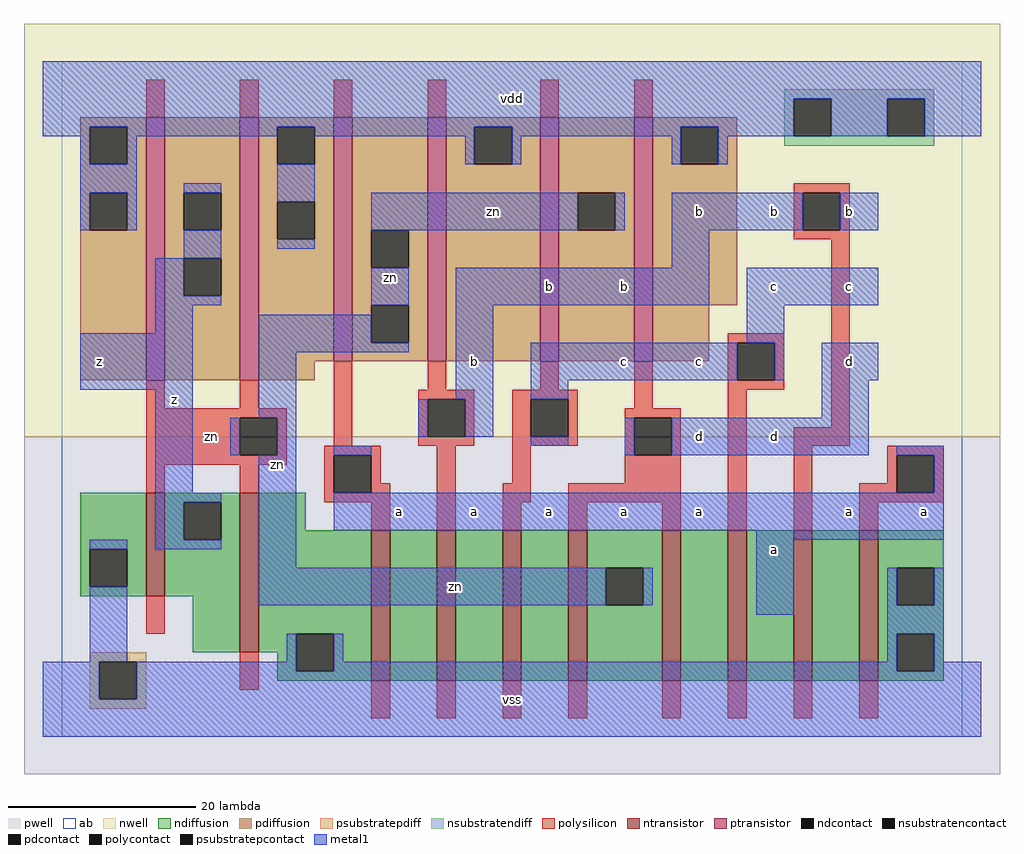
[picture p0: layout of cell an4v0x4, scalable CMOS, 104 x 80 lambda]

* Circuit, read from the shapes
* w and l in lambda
.subckt an4v0x4 a b c d vdd vss z zn
M1 z zn vss vss nfet w=11 l=2
M2 vss zn z vss nfet w=17 l=2
M3 n1 a vss vss nfet w=16 l=2
M4 n2 b n1 vss nfet w=16 l=2
M5 n3 c n2 vss nfet w=16 l=2
M6 zn d n3 vss nfet w=16 l=2
M7 n4 d zn vss nfet w=16 l=2
M8 n5 c n4 vss nfet w=16 l=2
M9 n6 b n5 vss nfet w=16 l=2
M10 vss a n6 vss nfet w=16 l=2
M11 z zn vdd vdd pfet w=28 l=2 m=2
M12 zn a vdd vdd pfet w=26 l=2
M13 vdd b zn vdd pfet w=26 l=2
M14 zn c vdd vdd pfet w=26 l=2
M15 vdd d zn vdd pfet w=26 l=2
.ends

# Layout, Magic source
magic
tech scmos
<< ab >>
rect 0 0 96 72
<< pwell >>
rect -4 -4 100 32
<< nwell >>
rect -4 32 100 76
<< polysilicon >>
rect 9 66 11 70
rect 19 66 21 70
rect 29 66 31 70
rect 39 66 41 70
rect 51 66 53 70
rect 61 66 63 70
rect 78 58 84 59
rect 78 54 79 58
rect 83 54 84 58
rect 78 53 84 54
rect 71 42 77 43
rect 9 35 11 38
rect 19 35 21 38
rect 9 34 24 35
rect 9 30 19 34
rect 23 30 24 34
rect 29 31 31 40
rect 39 37 41 40
rect 51 37 53 40
rect 38 36 44 37
rect 38 32 39 36
rect 43 32 44 36
rect 38 31 44 32
rect 48 36 55 37
rect 48 32 50 36
rect 54 32 55 36
rect 61 35 63 40
rect 71 38 72 42
rect 76 38 77 42
rect 71 37 77 38
rect 48 31 55 32
rect 60 34 66 35
rect 9 29 24 30
rect 28 30 34 31
rect 9 26 11 29
rect 19 26 21 29
rect 28 26 29 30
rect 33 27 34 30
rect 33 26 35 27
rect 9 11 11 15
rect 28 25 35 26
rect 33 22 35 25
rect 40 22 42 31
rect 48 27 50 31
rect 60 30 61 34
rect 65 30 66 34
rect 60 27 66 30
rect 47 25 50 27
rect 54 25 66 27
rect 47 22 49 25
rect 54 22 56 25
rect 64 22 66 25
rect 71 22 73 37
rect 82 33 84 53
rect 78 31 84 33
rect 78 22 80 31
rect 88 30 94 31
rect 88 27 89 30
rect 85 26 89 27
rect 93 26 94 30
rect 85 25 94 26
rect 85 22 87 25
rect 19 5 21 9
rect 33 2 35 6
rect 40 2 42 6
rect 47 2 49 6
rect 54 2 56 6
rect 64 2 66 6
rect 71 2 73 6
rect 78 2 80 6
rect 85 2 87 6
<< ndiffusion >>
rect 2 20 9 26
rect 2 16 3 20
rect 7 16 9 20
rect 2 15 9 16
rect 11 25 19 26
rect 11 21 13 25
rect 17 21 19 25
rect 11 15 19 21
rect 14 9 19 15
rect 21 22 26 26
rect 21 11 33 22
rect 21 9 25 11
rect 23 7 25 9
rect 29 7 33 11
rect 23 6 33 7
rect 35 6 40 22
rect 42 6 47 22
rect 49 6 54 22
rect 56 18 64 22
rect 56 14 58 18
rect 62 14 64 18
rect 56 6 64 14
rect 66 6 71 22
rect 73 6 78 22
rect 80 6 85 22
rect 87 18 94 22
rect 87 14 89 18
rect 93 14 94 18
rect 87 11 94 14
rect 87 7 89 11
rect 93 7 94 11
rect 87 6 94 7
<< pdiffusion >>
rect 2 65 9 66
rect 2 61 3 65
rect 7 61 9 65
rect 2 58 9 61
rect 2 54 3 58
rect 7 54 9 58
rect 2 38 9 54
rect 11 58 19 66
rect 11 54 13 58
rect 17 54 19 58
rect 11 51 19 54
rect 11 47 13 51
rect 17 47 19 51
rect 11 38 19 47
rect 21 65 29 66
rect 21 61 23 65
rect 27 61 29 65
rect 21 57 29 61
rect 21 53 23 57
rect 27 53 29 57
rect 21 40 29 53
rect 31 54 39 66
rect 31 50 33 54
rect 37 50 39 54
rect 31 46 39 50
rect 31 42 33 46
rect 37 42 39 46
rect 31 40 39 42
rect 41 65 51 66
rect 41 61 44 65
rect 48 61 51 65
rect 41 40 51 61
rect 53 58 61 66
rect 53 54 55 58
rect 59 54 61 58
rect 53 40 61 54
rect 63 65 72 66
rect 63 61 66 65
rect 70 61 72 65
rect 63 46 72 61
rect 63 40 69 46
rect 21 38 27 40
<< metal1 >>
rect -2 68 98 72
rect -2 65 78 68
rect -2 64 3 65
rect 2 61 3 64
rect 7 64 23 65
rect 7 61 8 64
rect 2 58 8 61
rect 27 64 44 65
rect 43 61 44 64
rect 48 64 66 65
rect 48 61 49 64
rect 65 61 66 64
rect 70 64 78 65
rect 82 64 88 68
rect 92 64 98 68
rect 70 61 71 64
rect 2 54 3 58
rect 7 54 8 58
rect 13 58 17 59
rect 13 51 17 54
rect 23 57 27 61
rect 23 52 27 53
rect 33 54 55 58
rect 59 54 60 58
rect 65 54 79 58
rect 83 54 87 58
rect 10 47 13 51
rect 10 46 17 47
rect 65 50 69 54
rect 33 46 37 50
rect 10 43 14 46
rect 2 37 14 43
rect 10 26 14 37
rect 21 42 33 45
rect 21 41 37 42
rect 42 46 69 50
rect 73 46 87 50
rect 21 34 25 41
rect 42 36 46 46
rect 73 42 77 46
rect 18 30 19 34
rect 23 30 25 34
rect 38 32 39 36
rect 43 32 46 36
rect 50 38 72 42
rect 76 38 77 42
rect 81 38 87 42
rect 50 36 54 38
rect 81 34 86 38
rect 50 31 54 32
rect 10 25 17 26
rect 10 21 13 25
rect 3 20 7 21
rect 10 20 17 21
rect 3 8 7 16
rect 21 18 25 30
rect 29 30 33 31
rect 60 30 61 34
rect 65 30 86 34
rect 89 30 94 31
rect 93 26 94 30
rect 29 22 94 26
rect 74 21 94 22
rect 21 14 58 18
rect 62 14 63 18
rect 74 13 78 21
rect 88 14 89 18
rect 93 14 94 18
rect 88 11 94 14
rect 24 8 25 11
rect -2 4 4 8
rect 8 7 25 8
rect 29 8 30 11
rect 88 8 89 11
rect 29 7 89 8
rect 93 8 94 11
rect 93 7 98 8
rect 8 4 98 7
rect -2 0 98 4
<< ntransistor >>
rect 9 15 11 26
rect 19 9 21 26
rect 33 6 35 22
rect 40 6 42 22
rect 47 6 49 22
rect 54 6 56 22
rect 64 6 66 22
rect 71 6 73 22
rect 78 6 80 22
rect 85 6 87 22
<< ptransistor >>
rect 9 38 11 66
rect 19 38 21 66
rect 29 40 31 66
rect 39 40 41 66
rect 51 40 53 66
rect 61 40 63 66
<< polycontact >>
rect 79 54 83 58
rect 19 30 23 34
rect 39 32 43 36
rect 50 32 54 36
rect 72 38 76 42
rect 29 26 33 30
rect 61 30 65 34
rect 89 26 93 30
<< ndcontact >>
rect 3 16 7 20
rect 13 21 17 25
rect 25 7 29 11
rect 58 14 62 18
rect 89 14 93 18
rect 89 7 93 11
<< pdcontact >>
rect 3 61 7 65
rect 3 54 7 58
rect 13 54 17 58
rect 13 47 17 51
rect 23 61 27 65
rect 23 53 27 57
rect 33 50 37 54
rect 33 42 37 46
rect 44 61 48 65
rect 55 54 59 58
rect 66 61 70 65
<< psubstratepcontact >>
rect 4 4 8 8
<< nsubstratencontact >>
rect 78 64 82 68
rect 88 64 92 68
<< psubstratepdiff >>
rect 3 8 9 9
rect 3 4 4 8
rect 8 4 9 8
rect 3 3 9 4
<< nsubstratendiff >>
rect 77 68 93 69
rect 77 64 78 68
rect 82 64 88 68
rect 92 64 93 68
rect 77 63 93 64
<< labels >>
rlabel polysilicon 16 32 16 32 6 zn
rlabel metal1 12 36 12 36 6 z
rlabel metal1 4 40 4 40 6 z
rlabel metal1 23 29 23 29 6 zn
rlabel metal1 35 49 35 49 6 zn
rlabel metal1 48 4 48 4 6 vss
rlabel metal1 36 24 36 24 6 a
rlabel metal1 44 24 44 24 6 a
rlabel metal1 52 24 52 24 6 a
rlabel metal1 44 40 44 40 6 b
rlabel metal1 52 48 52 48 6 b
rlabel metal1 48 68 48 68 6 vdd
rlabel metal1 42 16 42 16 6 zn
rlabel metal1 60 24 60 24 6 a
rlabel metal1 68 24 68 24 6 a
rlabel metal1 76 20 76 20 6 a
rlabel metal1 68 32 68 32 6 d
rlabel metal1 76 32 76 32 6 d
rlabel metal1 60 40 60 40 6 c
rlabel metal1 68 40 68 40 6 c
rlabel metal1 60 48 60 48 6 b
rlabel metal1 76 48 76 48 6 c
rlabel metal1 68 56 68 56 6 b
rlabel metal1 76 56 76 56 6 b
rlabel metal1 46 56 46 56 6 zn
rlabel metal1 84 24 84 24 6 a
rlabel metal1 92 24 92 24 6 a
rlabel metal1 84 40 84 40 6 d
rlabel metal1 84 48 84 48 6 c
rlabel metal1 84 56 84 56 6 b
<< end >>
